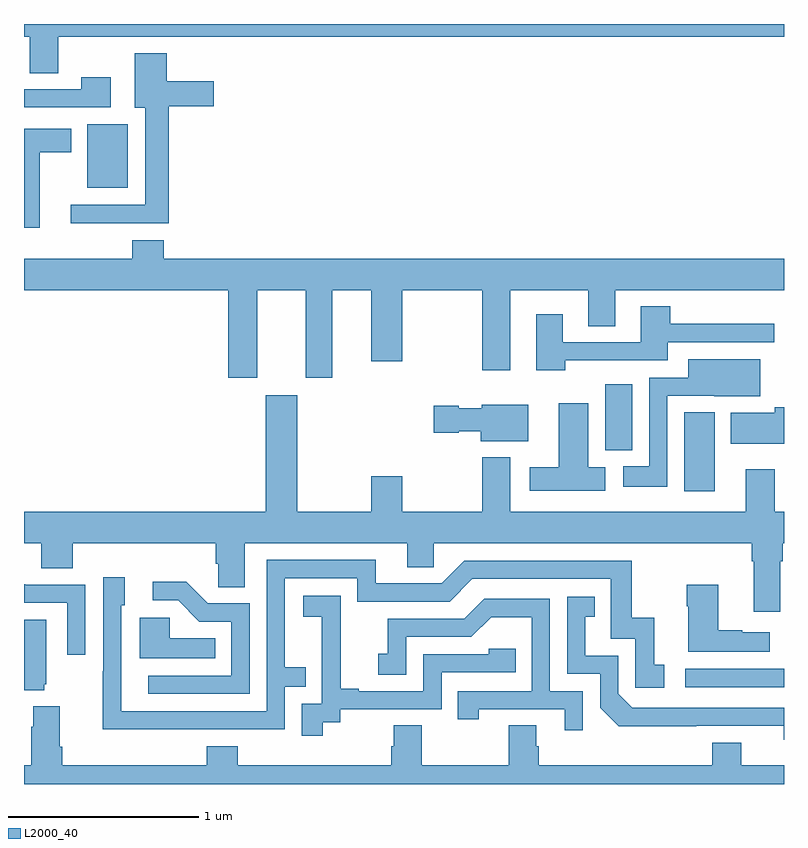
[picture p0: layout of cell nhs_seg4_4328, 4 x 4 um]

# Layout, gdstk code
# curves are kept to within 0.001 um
import gdstk
lib = gdstk.Library(unit=1e-6, precision=1e-09)
def R(c, l, rs):  # rectangles x0, y0, x1, y1
    for r in rs: c.add(gdstk.rectangle(r[:2], r[2:], *l))
def P(c, l, *ps):  # polygons
    for p in ps: c.add(gdstk.Polygon(p, *l))
L2000_40 = (2000, 40)

nhs_seg4_4328 = lib.new_cell('nhs_seg4_4328')
R(nhs_seg4_4328, L2000_40, [(346.479,781.41,347,781.506), (346.475,782.442,346.636,782.857), (346.058,782.657,346.201,783.004), (343.334,784.037,343.546,784.372)])
P(nhs_seg4_4328, L2000_40, [(343.179,784.832),(347,784.832),(347,784.9),(343,784.9),(343,784.832),(343.031,784.832),(343.031,784.642),(343.179,784.642)],
  [(343.763,784.466),(343.999,784.466),(343.999,784.6),(343.75,784.6),(343.75,784.747),(343.583,784.747),(343.583,784.46),(343.637,784.46),(343.637,783.948),(343.245,783.948),(343.245,783.851),(343.763,783.851)],
  [(343.456,784.621),(343.3,784.621),(343.3,784.557),(343,784.557),(343,784.461),(343.456,784.461)],
  [(343.084,784.226),(343.249,784.226),(343.249,784.348),(343,784.348),(343,783.828),(343.084,783.828)],
  [(344.227,783.5),(344.483,783.5),(344.483,783.039),(344.623,783.039),(344.623,783.5),(344.828,783.5),(344.828,783.126),(344.992,783.126),(344.992,783.5),(345.412,783.5),(345.412,783.078),(345.559,783.078),(345.559,783.5),(345.971,783.5),(345.971,783.31),(346.111,783.31),(346.111,783.5),(347,783.5),(347,783.664),(343.736,783.664),(343.736,783.763),(343.571,783.763),(343.571,783.664),(343,783.664),(343,783.5),(344.075,783.5),(344.075,783.039),(344.227,783.039)],
  [(345.848,783.129),(346.387,783.129),(346.387,783.225),(346.948,783.225),(346.948,783.322),(346.4,783.322),(346.4,783.415),(346.247,783.415),(346.247,783.225),(345.835,783.225),(345.835,783.373),(345.695,783.373),(345.695,783.078),(345.848,783.078)],
  [(346.386,782.943),(346.632,782.943),(346.632,782.942),(346.876,782.942),(346.876,783.136),(346.496,783.136),(346.496,783.039),(346.29,783.039),(346.29,782.572),(346.155,782.572),(346.155,782.465),(346.386,782.465)],
  [(346.981,782.072),(346.994,782.072),(346.994,782.168),(347,782.168),(347,782.332),(346.952,782.332),(346.952,782.557),(346.799,782.557),(346.799,782.332),(345.559,782.332),(345.559,782.62),(345.412,782.62),(345.412,782.332),(344.992,782.332),(344.992,782.521),(344.828,782.521),(344.828,782.332),(344.437,782.332),(344.437,782.947),(344.273,782.947),(344.273,782.332),(343,782.332),(343,782.168),(343.091,782.168),(343.091,782.035),(343.256,782.035),(343.256,782.168),(344.009,782.168),(344.009,782.059),(344.022,782.059),(344.022,781.936),(344.161,781.936),(344.161,782.168),(345.017,782.168),(345.017,782.041),(345.156,782.041),(345.156,782.168),(346.829,782.168),(346.829,782.072),(346.841,782.072),(346.841,781.806),(346.981,781.806)],
  [(346.06,782.566),(345.97,782.566),(345.97,782.905),(345.815,782.905),(345.815,782.566),(345.663,782.566),(345.663,782.444),(346.06,782.444)],
  [(345.655,782.896),(345.408,782.896),(345.408,782.878),(345.288,782.878),(345.288,782.891),(345.156,782.891),(345.156,782.749),(345.288,782.749),(345.288,782.756),(345.404,782.756),(345.404,782.705),(345.655,782.705)],
  [(347,782.884),(346.951,782.884),(346.951,782.854),(346.721,782.854),(346.721,782.69),(347,782.69)],
  [(343.877,781.188),(344.373,781.188),(344.373,781.413),(344.483,781.413),(344.483,781.514),(344.373,781.514),(344.373,781.983),(344.754,781.983),(344.754,781.86),(345.24,781.86),(345.36,781.98),(346.089,781.98),(346.089,781.665),(346.218,781.665),(346.218,781.407),(346.369,781.407),(346.369,781.527),(346.316,781.527),(346.316,781.774),(346.198,781.774),(346.198,782.076),(345.318,782.076),(345.198,781.956),(344.851,781.956),(344.851,782.079),(344.277,782.079),(344.277,781.284),(343.513,781.284),(343.512,781.842),(343.531,781.842),(343.531,781.987),(343.416,781.987),(343.416,781.493),(343.414,781.493),(343.414,781.187)],
  [(344.187,781.851),(343.968,781.851),(343.855,781.964),(343.677,781.964),(343.677,781.866),(343.811,781.866),(343.922,781.755),(344.091,781.755),(344.091,781.47),(343.653,781.47),(343.653,781.374),(344.187,781.374)],
  [(343.323,781.95),(343.007,781.95),(343.007,781.952),(343,781.952),(343,781.854),(343.227,781.854),(343.227,781.581),(343.323,781.581)],
  [(346.924,781.699),(346.781,781.699),(346.781,781.709),(346.654,781.709),(346.654,781.948),(346.489,781.948),(346.489,781.835),(346.496,781.835),(346.496,781.595),(346.924,781.595)],
  [(344.572,781.225),(344.664,781.225),(344.664,781.293),(345.198,781.293),(345.198,781.488),(345.587,781.488),(345.587,781.611),(345.447,781.611),(345.447,781.584),(345.102,781.584),(345.102,781.389),(344.761,781.389),(344.761,781.402),(344.666,781.402),(344.666,781.685),(344.667,781.685),(344.667,781.891),(344.469,781.891),(344.469,781.781),(344.567,781.781),(344.567,781.553),(344.568,781.553),(344.568,781.323),(344.463,781.323),(344.463,781.155),(344.572,781.155)],
  [(347,781.302),(346.2,781.302),(346.128,781.374),(346.128,781.575),(345.955,781.575),(345.955,781.779),(346.004,781.779),(346.004,781.885),(345.858,781.885),(345.858,781.479),(346.032,781.479),(346.032,781.302),(346.13,781.205),(346.998,781.206),(346.998,781.133),(347,781.133)],
  [(345.942,781.389),(345.768,781.389),(345.768,781.875),(345.422,781.875),(345.317,781.77),(344.914,781.77),(344.914,781.585),(344.865,781.585),(344.865,781.476),(345.012,781.476),(345.012,781.674),(345.354,781.674),(345.458,781.778),(345.672,781.778),(345.672,781.389),(345.283,781.389),(345.283,781.242),(345.394,781.242),(345.394,781.293),(345.845,781.293),(345.845,781.182),(345.942,781.182)],
  [(344.006,781.666),(343.767,781.666),(343.767,781.774),(343.61,781.774),(343.61,781.562),(344.006,781.562)],
  [(343.106,781.425),(343.117,781.425),(343.117,781.765),(343,781.765),(343,781.394),(343.106,781.394)],
  [(345.093,781.208),(344.945,781.208),(344.945,781.098),(344.933,781.098),(344.933,781),(344.126,781),(344.126,781.099),(343.961,781.099),(343.961,781),(343.202,781),(343.202,781.096),(343.189,781.096),(343.189,781.309),(343.049,781.309),(343.049,781.202),(343.037,781.202),(343.037,781),(343,781),(343,780.9),(347,780.9),(347,781),(346.774,781),(346.774,781.117),(346.622,781.117),(346.622,781),(345.71,781),(345.71,781.098),(345.697,781.098),(345.697,781.208),(345.55,781.208),(345.55,781),(345.093,781)])

lib.write_gds('nhs_seg4_4328.gds')
